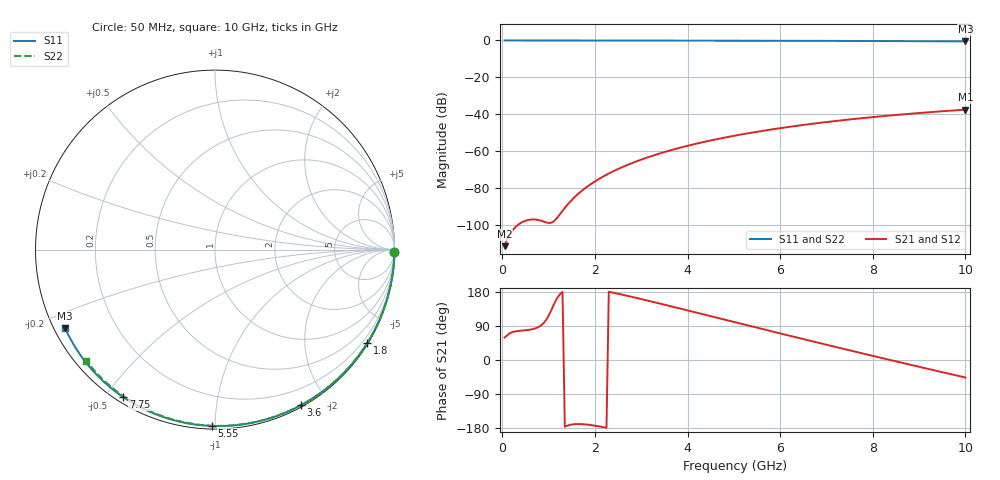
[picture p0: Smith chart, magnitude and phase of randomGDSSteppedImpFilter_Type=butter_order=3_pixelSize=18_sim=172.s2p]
! freq	dB(S11)	phase(S11)	dB(S12)	phase(S12)
!  dB(S21)	phase(S21)	dB(S22)	phase(S22)
!S-par simulation data
#  GHz  S  DB  R 50
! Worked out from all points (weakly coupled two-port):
!   200 points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, 50 MHz to 10 GHz, reference 50 ohm
!   highest |S21| = -37.46 dB at 10 GHz (marker M1); lowest = -111.4 dB at 50 MHz (marker M2)
!   lowest |S11| = -0.5 dB at 10 GHz (marker M3), VSWR 33.84, Z = 1.57 - j12.2 ohm
!   |S11| at or under -10 dB: nowhere
!   |S22| runs from -0.5 to 0.0 dB; largest |S21 - S12| = 0
!   S11 on the Smith chart (normalised r, x): 50 MHz: open; 1.8 GHz: 0.03, -3.55; 3.6 GHz: 0.02, -1.69; 5.55 GHz: 0.02, -0.98; 7.75 GHz: 0.02, -0.56; 10 GHz: 0.03, -0.24
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0.05  -0.00 -0.9  -111.39 59.2  -111.39 59.2  -0.00 -0.8
0.45  -0.01 -8.0  -98.15 77.9  -98.15 77.9  -0.01 -7.3
0.9  -0.02 -15.9  -98.12 98.4  -98.12 98.4  -0.02 -14.4
1.3  -0.03 -22.8  -92.27 179.7  -92.27 179.7  -0.03 -20.8
1.75  -0.04 -30.6  -80.73 -169.6  -80.73 -169.6  -0.04 -27.8
1.8  -0.04 -31.4  -79.77 -170.1  -79.77 -170.1  -0.04 -28.6
1.95  -0.04 -34.0  -77.13 -172.4  -77.13 -172.4  -0.04 -30.9
2.1  -0.05 -36.5  -74.80 -175.4  -74.80 -175.4  -0.04 -33.2
2.3  -0.05 -39.9  -72.04 180.0  -72.04 180.0  -0.05 -36.3
2.5  -0.06 -43.2  -69.60 174.9  -69.60 174.9  -0.05 -39.4
2.9  -0.06 -49.9  -65.44 163.7  -65.44 163.7  -0.06 -45.4
3.4  -0.08 -58.0  -61.18 149.0  -61.18 149.0  -0.07 -52.9
3.6  -0.08 -61.2  -59.70 143.0  -59.70 143.0  -0.08 -55.8
4.3  -0.10 -72.2  -55.25 121.8  -55.25 121.8  -0.09 -65.9
5.05  -0.13 -83.6  -51.40 98.9  -51.40 98.9  -0.12 -76.4
5.55  -0.15 -91.0  -49.23 83.7  -49.23 83.7  -0.14 -83.2
6.1  -0.18 -98.9  -47.13 67.1  -47.13 67.1  -0.16 -90.5
6.7  -0.21 -107.4  -45.10 49.2  -45.10 49.2  -0.19 -98.3
7.75  -0.28 -121.9  -42.12 18.2  -42.12 18.2  -0.26 -111.6
8.35  -0.33 -130.1  -40.68 0.7  -40.68 0.7  -0.30 -119.1
9.2  -0.42 -141.6  -38.90 -23.6  -38.90 -23.6  -0.38 -129.5
10  -0.51 -152.5  -37.46 -46.2  -37.46 -46.2  -0.47 -139.2
